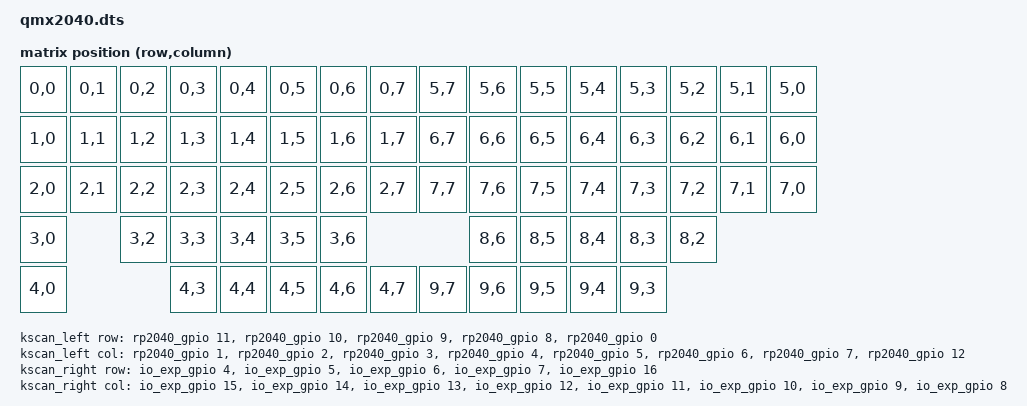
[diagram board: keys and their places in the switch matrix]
/dts-v1/;

#include <raspberrypi/rpi_pico/rp2040.dtsi>
#include <dt-bindings/zmk/matrix_transform.h>
#include <zephyr/dt-bindings/pinctrl/rpi-pico-rp2040-pinctrl.h>
#include <physical_layouts.dtsi>

/ {
    chosen {
        zephyr,sram = &sram0;
        zephyr,flash = &flash0;
        zephyr,flash-controller = &ssi;
        zephyr,code-partition = &code_partition;
    };

    default_transform: keymap_transform0 {
        compatible = "zmk,matrix-transform";
        columns = <8>;
        rows = <10>;
        map = <
RC(0,0) RC(0,1) RC(0,2) RC(0,3) RC(0,4) RC(0,5) RC(0,6) RC(0,7)  RC(5,7) RC(5,6) RC(5,5) RC(5,4) RC(5,3) RC(5,2) RC(5,1) RC(5,0)
RC(1,0) RC(1,1) RC(1,2) RC(1,3) RC(1,4) RC(1,5) RC(1,6) RC(1,7)  RC(6,7) RC(6,6) RC(6,5) RC(6,4) RC(6,3) RC(6,2) RC(6,1) RC(6,0)
RC(2,0) RC(2,1) RC(2,2) RC(2,3) RC(2,4) RC(2,5) RC(2,6) RC(2,7)  RC(7,7) RC(7,6) RC(7,5) RC(7,4) RC(7,3) RC(7,2) RC(7,1) RC(7,0)
RC(3,0)         RC(3,2) RC(3,3) RC(3,4) RC(3,5) RC(3,6)                  RC(8,6) RC(8,5) RC(8,4) RC(8,3) RC(8,2)
RC(4,0)                 RC(4,3) RC(4,4) RC(4,5) RC(4,6) RC(4,7)  RC(9,7) RC(9,6) RC(9,5) RC(9,4) RC(9,3)
        >;
    };

    kscan_composite: kscan_composite {
        compatible = "zmk,kscan-composite";
        rows = <10>;
        columns = <8>;

        left {
            kscan = <&kscan_left>;
        };

        right {
            kscan = <&kscan_right>;
            row-offset = <5>;
        };
    };

    kscan_left: kscan_left {
        compatible = "zmk,kscan-gpio-matrix";
        diode-direction = "col2row";
        row-gpios
            = <&rp2040_gpio 11 (GPIO_ACTIVE_HIGH | GPIO_PULL_DOWN)>  // Numbers
            , <&rp2040_gpio 10 (GPIO_ACTIVE_HIGH | GPIO_PULL_DOWN)>  // Top
            , <&rp2040_gpio  9 (GPIO_ACTIVE_HIGH | GPIO_PULL_DOWN)>  // Home
            , <&rp2040_gpio  8 (GPIO_ACTIVE_HIGH | GPIO_PULL_DOWN)>  // Bottom
            , <&rp2040_gpio  0 (GPIO_ACTIVE_HIGH | GPIO_PULL_DOWN)>  // Thumb
        ;

        col-gpios
            = <&rp2040_gpio  1 GPIO_ACTIVE_HIGH>  // Bépo
            , <&rp2040_gpio  2 GPIO_ACTIVE_HIGH>  // Outer
            , <&rp2040_gpio  3 GPIO_ACTIVE_HIGH>  // Pinky
            , <&rp2040_gpio  4 GPIO_ACTIVE_HIGH>  // Ring
            , <&rp2040_gpio  5 GPIO_ACTIVE_HIGH>  // Middle
            , <&rp2040_gpio  6 GPIO_ACTIVE_HIGH>  // Index
            , <&rp2040_gpio  7 GPIO_ACTIVE_HIGH>  // Inner
            , <&rp2040_gpio 12 GPIO_ACTIVE_HIGH>  //  Tmx
        ;
    };

    kscan_right: kscan_right {
        compatible = "zmk,kscan-gpio-matrix";
        diode-direction = "col2row";
        row-gpios
            = <&io_exp_gpio  4 (GPIO_ACTIVE_HIGH | GPIO_PULL_DOWN)>  // Numbers
            , <&io_exp_gpio  5 (GPIO_ACTIVE_HIGH | GPIO_PULL_DOWN)>  // Top
            , <&io_exp_gpio  6 (GPIO_ACTIVE_HIGH | GPIO_PULL_DOWN)>  // Home
            , <&io_exp_gpio  7 (GPIO_ACTIVE_HIGH | GPIO_PULL_DOWN)>  // Bottom
            , <&io_exp_gpio 16 (GPIO_ACTIVE_HIGH | GPIO_PULL_DOWN)>  // Thumb
        ;

        col-gpios
            = <&io_exp_gpio 15 GPIO_ACTIVE_HIGH>  // Bépo
            , <&io_exp_gpio 14 GPIO_ACTIVE_HIGH>  // Outer
            , <&io_exp_gpio 13 GPIO_ACTIVE_HIGH>  // Pinky
            , <&io_exp_gpio 12 GPIO_ACTIVE_HIGH>  // Ring
            , <&io_exp_gpio 11 GPIO_ACTIVE_HIGH>  // Middle
            , <&io_exp_gpio 10 GPIO_ACTIVE_HIGH>  // Index
            , <&io_exp_gpio  9 GPIO_ACTIVE_HIGH>  // Inner
            , <&io_exp_gpio  8 GPIO_ACTIVE_HIGH>  // Tmx
        ;
    };

    //                                     w   h      x      y     rot rx ry
    #define KEY(x, y) &key_physical_attrs 100 100 (x*100) (y*100)  0  0  0

    physical_layout0: physical_layout_0 { // First physical layout, use different naming for other layouts
        compatible = "zmk,physical-layout";
        display-name = "Default Layout";
        kscan = <&kscan_composite>; // Label of the kscan node, optional if all layouts use the same
        transform = <&default_transform>; // Label of the matrix transform for this layout
        keys
            = <KEY(0,  0.5)>
            , <KEY(1,  0.5)>
            , <KEY(2,  0.0)>
            , <KEY(3,  0.0)>
            , <KEY(4,  0.0)>
            , <KEY(5,  0.0)>
            , <KEY(6,  0.0)>
            , <KEY(7,  0.5)>

            , <KEY(8,  0.5)>
            , <KEY(9,  0.0)>
            , <KEY(10, 0.0)>
            , <KEY(11, 0.0)>
            , <KEY(12, 0.0)>
            , <KEY(13, 0.0)>
            , <KEY(14, 0.5)>
            , <KEY(15, 0.5)>

            , <KEY(0,  1.5)>
            , <KEY(1,  1.5)>
            , <KEY(2,  1.0)>
            , <KEY(3,  1.0)>
            , <KEY(4,  1.0)>
            , <KEY(5,  1.0)>
            , <KEY(6,  1.0)>
            , <KEY(7,  1.5)>

            , <KEY(8,  1.5)>
            , <KEY(9,  1.0)>
            , <KEY(10, 1.0)>
            , <KEY(11, 1.0)>
            , <KEY(12, 1.0)>
            , <KEY(13, 1.0)>
            , <KEY(14, 1.5)>
            , <KEY(15, 1.5)>

            , <KEY(0,  2.5)>
            , <KEY(1,  2.5)>
            , <KEY(2,  2.0)>
            , <KEY(3,  2.0)>
            , <KEY(4,  2.0)>
            , <KEY(5,  2.0)>
            , <KEY(6,  2.0)>
            , <KEY(7,  2.5)>

            , <KEY(8,  2.5)>
            , <KEY(9,  2.0)>
            , <KEY(10, 2.0)>
            , <KEY(11, 2.0)>
            , <KEY(12, 2.0)>
            , <KEY(13, 2.0)>
            , <KEY(14, 2.5)>
            , <KEY(15, 2.5)>

            , <KEY(0,  3.5)>
            , <KEY(2,  3.0)>
            , <KEY(3,  3.0)>
            , <KEY(4,  3.0)>
            , <KEY(5,  3.0)>
            , <KEY(6,  3.0)>

            , <KEY(9,  3.0)>
            , <KEY(10, 3.0)>
            , <KEY(11, 3.0)>
            , <KEY(12, 3.0)>
            , <KEY(13, 3.0)>

            , <KEY(0,  4.5)>
            , <KEY(3,  4.0)>
            , <KEY(4,  4.0)>
            , <KEY(5,  4.0)>
            , <KEY(6,  4.0)>
            , <KEY(7,  4.0)>

            , <KEY(8,  4.0)>
            , <KEY(9,  4.0)>
            , <KEY(10, 4.0)>
            , <KEY(11, 4.0)>
            , <KEY(12, 4.0)>
    };
};

rp2040_gpio: &gpio0 {
    status = "okay";
};

&pinctrl {
    i2c0_custom: i2c0_custom {
        group1 {
            pinmux = <I2C0_SCL_P21>, <I2C0_SDA_P20>;
            input-enable;
            input-schmitt-enable;
        };
    };
};

&i2c0 {
    status = "okay";
    clock-frequency = <I2C_BITRATE_STANDARD>;
    pinctrl-0 = <&i2c0_custom>;
    pinctrl-names = "default";

    io_exp_gpio: pcal6524@23 {
        compatible = "nxp,pcal6524";
        status = "okay";
        ngpios = <24>;
        #gpio-cells = <2>;
        gpio-controller;
        reg = <0x23>;
    };
};

&timer {
    status = "okay";
};

&rtc {
    clocks = <&clocks RPI_PICO_CLKID_CLK_RTC>;
    status = "okay";
};

&vreg {
    regulator-always-on;
    regulator-allowed-modes = <REGULATOR_RPI_PICO_MODE_NORMAL>;
};

zephyr_udc0: &usbd {
    status = "okay";
};

&flash0 {
    // Flex 25.xx: W25Q128JV onboard flash, 128M-bit memory (16MB).
    // Flex 26.01: W25Q16JVUX onboard flash, 16M-bit memory (2MB).
    // 2MB is more than enough, so let's use that for all Flex versions.
    reg = <0x10000000 DT_SIZE_M(2)>;

    partitions {
        compatible = "fixed-partitions";
        #address-cells = <1>;
        #size-cells = <1>;

        // Reserved memory for the second-stage bootloader
        second_stage_bootloader: partition@0 {
            reg = <0x00000000 0x100>;
            read-only;
        };

        // Usable flash. Starts at 0x100, after the bootloader. The partition
        // size is 2MB minus:
        // - 0x100 bytes taken by the bootloader
        // - 0x20000 bytes (= 128 kB) taken by storage
        code_partition: partition@100 {
            reg = <0x100 (DT_SIZE_M(2) - 0x100 - DT_SIZE_K(128))>;
            read-only;
        };

        // Extra storage needed to store extra tweaks done using ZMK-Studio
        storage_partition: partition@1e0000 {
            reg = <0x1e0000 DT_SIZE_K(128)>;
        };
    };
};

&xosc {
    // Ensure the 12MHz oscillator has enough time to stabilize properly.
    // Required by Flex 25.xx, should be useless with Flex 26.01.
    startup-delay-multiplier = <64>;
};
